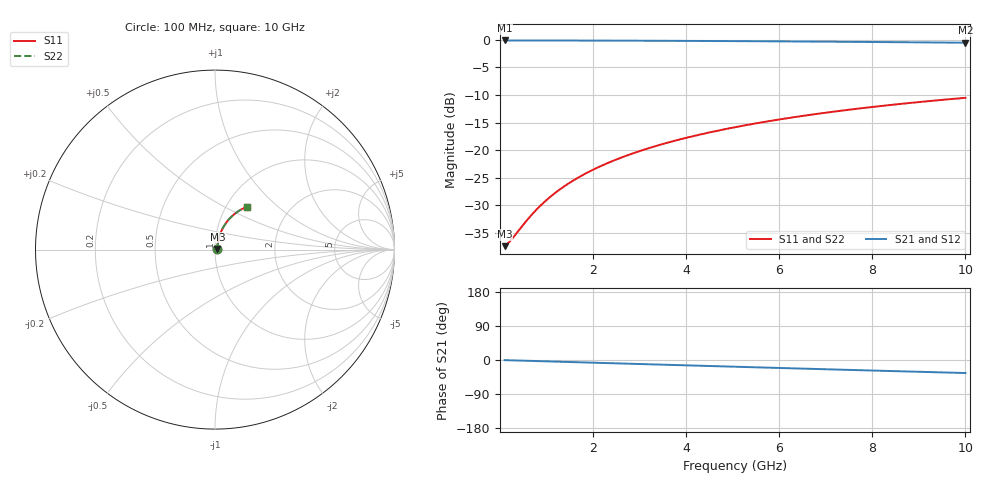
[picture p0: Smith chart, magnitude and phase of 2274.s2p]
# Hz S RI R 50.00
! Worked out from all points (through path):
!   100 points, 100 MHz to 10 GHz, reference 50 ohm
!   highest |S21| = -0.11 dB at 100 MHz (marker M1); lowest = -0.5 dB at 10 GHz (marker M2)
!   group delay of S21, straight-line fit = 9.57 ps
!   lowest |S11| = -37.4 dB at 100 MHz (marker M3), VSWR 1.03, Z = 51.3 + j0.327 ohm
!   |S11| at or under -10 dB: start of sweep to end of sweep
!   |S22| runs from -37.4 to -10.5 dB; largest |S21 - S12| = 0
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1e8  0.0131 0.00318  0.9869 -0.0061  0.9869 -0.0061  0.0131 0.00318
2e8  0.0132 0.00637  0.9867 -0.0122  0.9867 -0.0122  0.0132 0.00637
3e8  0.0134 0.00955  0.9866 -0.0183  0.9866 -0.0183  0.0134 0.00955
6e8  0.0141 0.0191  0.9858 -0.0366  0.9858 -0.0366  0.0141 0.0191
7e8  0.0143 0.0222  0.9854 -0.0427  0.9854 -0.0427  0.0143 0.0222
8e8  0.0147 0.0254  0.985 -0.0487  0.985 -0.0487  0.0147 0.0254
1e9  0.0154 0.0317  0.9841 -0.0609  0.9841 -0.0609  0.0154 0.0317
1.2e9  0.0163 0.038  0.983 -0.073  0.983 -0.073  0.0163 0.038
1.4e9  0.0174 0.0443  0.9817 -0.0851  0.9817 -0.0851  0.0174 0.0443
1.6e9  0.0186 0.0505  0.9802 -0.0972  0.9802 -0.0972  0.0186 0.0505
1.8e9  0.02 0.0567  0.9786 -0.1092  0.9786 -0.1092  0.02 0.0567
2.1e9  0.0223 0.0659  0.9757 -0.1272  0.9757 -0.1272  0.0223 0.0659
2.5e9  0.0259 0.078  0.9713 -0.151  0.9713 -0.151  0.0259 0.078
2.9e9  0.0301 0.0899  0.9662 -0.1746  0.9662 -0.1746  0.0301 0.0899
3.4e9  0.0362 0.1045  0.9588 -0.2037  0.9588 -0.2037  0.0362 0.1045
4.2e9  0.0476 0.1268  0.9447 -0.2494  0.9447 -0.2494  0.0476 0.1268
5.1e9  0.0628 0.1502  0.9258 -0.2992  0.9258 -0.2992  0.0628 0.1502
5.9e9  0.0783 0.1694  0.9064 -0.3419  0.9064 -0.3419  0.0783 0.1694
6.7e9  0.0955 0.1869  0.8848 -0.3828  0.8848 -0.3828  0.0955 0.1869
7.5e9  0.114 0.2025  0.8613 -0.4219  0.8613 -0.4219  0.114 0.2025
8.4e9  0.1363 0.2178  0.8326 -0.4636  0.8326 -0.4636  0.1363 0.2178
1e10  0.1787 0.2385  0.777 -0.5314  0.777 -0.5314  0.1787 0.2385
